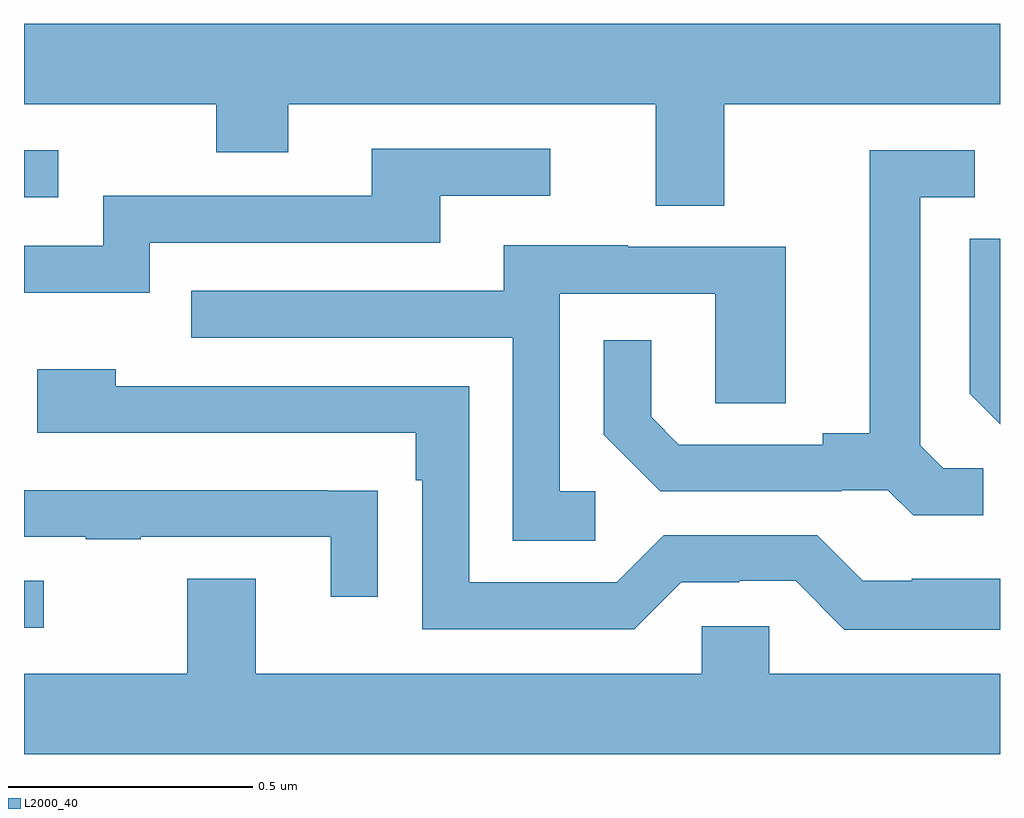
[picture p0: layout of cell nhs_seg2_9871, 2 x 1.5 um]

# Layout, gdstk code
import gdstk
lib = gdstk.Library(unit=1e-6, precision=1e-09)
def R(c, l, rs):  # rectangles x0, y0, x1, y1
    for r in rs: c.add(gdstk.rectangle(r[:2], r[2:], *l))
def P(c, l, *ps):  # polygons
    for p in ps: c.add(gdstk.Polygon(p, *l))
L2000_40 = (2000, 40)

nhs_seg2_9871 = lib.new_cell('nhs_seg2_9871')
R(nhs_seg2_9871, L2000_40, [(234,637.239,234.04,637.335), (234,638.121,234.07,638.217)])
P(nhs_seg2_9871, L2000_40, [(235.435,638.312),(236,638.312),(236,638.476),(234,638.476),(234,638.312),(234.394,638.312),(234.394,638.213),(234.541,638.213),(234.541,638.312),(235.295,638.312),(235.295,638.104),(235.435,638.104)],
  [(234.258,638.028),(234.853,638.028),(234.853,638.124),(235.078,638.124),(235.078,638.22),(234.713,638.22),(234.713,638.124),(234.162,638.124),(234.162,638.022),(234,638.022),(234,637.925),(234.258,637.925)],
  [(235.966,637.566),(235.884,637.566),(235.837,637.613),(235.837,638.121),(235.948,638.121),(235.948,638.217),(235.733,638.217),(235.733,637.637),(235.637,637.637),(235.637,637.614),(235.342,637.614),(235.285,637.671),(235.285,637.828),(235.188,637.828),(235.188,637.634),(235.304,637.518),(235.676,637.518),(235.676,637.521),(235.77,637.521),(235.822,637.469),(235.966,637.469)],
  [(236,638.036),(235.938,638.036),(235.938,637.718),(236,637.656)],
  [(235.171,637.518),(235.098,637.518),(235.098,637.923),(235.416,637.923),(235.416,637.699),(235.561,637.699),(235.561,638.019),(235.237,638.019),(235.237,638.023),(234.983,638.023),(234.983,637.929),(234.343,637.929),(234.343,637.833),(235.002,637.833),(235.002,637.417),(235.171,637.417)],
  [(236,637.339),(235.819,637.339),(235.819,637.335),(235.719,637.335),(235.626,637.428),(235.311,637.428),(235.215,637.332),(234.912,637.332),(234.912,637.734),(234.188,637.734),(234.188,637.768),(234.027,637.768),(234.027,637.638),(234.803,637.638),(234.803,637.541),(234.816,637.541),(234.816,637.236),(235.251,637.236),(235.347,637.332),(235.466,637.332),(235.466,637.335),(235.581,637.335),(235.681,637.235),(236,637.235)],
  [(234.725,637.52),(234.623,637.52),(234.623,637.521),(234,637.521),(234,637.425),(234.127,637.425),(234.127,637.42),(234.239,637.42),(234.239,637.425),(234.629,637.425),(234.629,637.302),(234.725,637.302)],
  [(236,637.144),(235.527,637.144),(235.527,637.242),(235.389,637.242),(235.389,637.144),(234.475,637.144),(234.475,637.339),(234.335,637.339),(234.335,637.144),(234,637.144),(234,636.98),(236,636.98)])

lib.write_gds('nhs_seg2_9871.gds')
